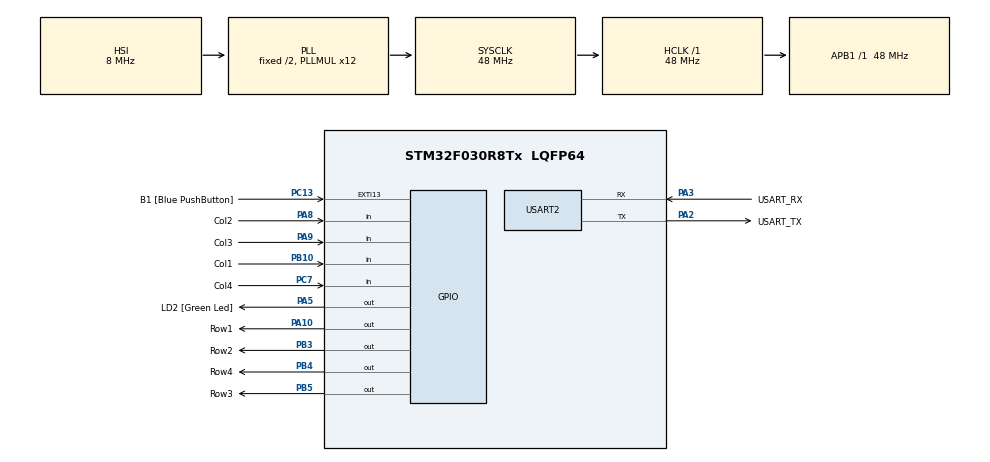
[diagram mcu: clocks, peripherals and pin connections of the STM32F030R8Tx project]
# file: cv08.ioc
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Mcu.Family=STM32F0
Mcu.Name=STM32F030R8Tx
Mcu.Package=LQFP64
NVIC.TIM3_IRQn=true\:0\:0\:false\:false\:true\:true\:true
PA10.GPIO_Label=Row1
PA10.GPIO_ModeDefaultOutputPP=GPIO_MODE_OUTPUT_OD
PA10.Signal=GPIO_Output
PA13.GPIO_Label=TMS
PA13.Mode=Serial_Wire
PA13.Signal=SYS_SWDIO
PA14.GPIO_Label=TCK
PA14.Mode=Serial_Wire
PA14.Signal=SYS_SWCLK
PA2.GPIO_Label=USART_TX
PA2.GPIO_Mode=GPIO_MODE_AF_PP
PA2.GPIO_PuPd=GPIO_NOPULL
PA2.GPIO_Speed=GPIO_SPEED_FREQ_LOW
PA2.Mode=Asynchronous
PA2.Signal=USART2_TX
PA3.GPIO_Label=USART_RX
PA3.GPIO_Mode=GPIO_MODE_AF_PP
PA3.GPIO_PuPd=GPIO_NOPULL
PA3.GPIO_Speed=GPIO_SPEED_FREQ_LOW
PA3.Mode=Asynchronous
PA3.Signal=USART2_RX
PA5.GPIO_Label=LD2 [Green Led]
PA5.GPIO_Mode=GPIO_MODE_OUTPUT_PP
PA5.GPIO_PuPd=GPIO_NOPULL
PA5.GPIO_Speed=GPIO_SPEED_FREQ_LOW
PA5.Signal=GPIO_Output
PA8.GPIO_Label=Col2
PA8.GPIO_PuPd=GPIO_PULLUP
PA8.Signal=GPIO_Input
PA9.GPIO_Label=Col3
PA9.GPIO_PuPd=GPIO_PULLUP
PA9.Signal=GPIO_Input
PB10.GPIO_Label=Col1
PB10.GPIO_PuPd=GPIO_PULLUP
PB10.Signal=GPIO_Input
PB3.GPIO_Label=Row2
PB3.GPIO_ModeDefaultOutputPP=GPIO_MODE_OUTPUT_OD
PB3.Signal=GPIO_Output
PB4.GPIO_Label=Row4
PB4.GPIO_ModeDefaultOutputPP=GPIO_MODE_OUTPUT_OD
PB4.Signal=GPIO_Output
PB5.GPIO_Label=Row3
PB5.GPIO_ModeDefaultOutputPP=GPIO_MODE_OUTPUT_OD
PB5.Signal=GPIO_Output
PC13.GPIO_Label=B1 [Blue PushButton]
PC13.GPIO_ModeDefaultEXTI=GPIO_MODE_IT_FALLING
PC13.Signal=GPXTI13
PC14-OSC32_IN.Mode=LSE-External-Oscillator
PC14-OSC32_IN.Signal=RCC_OSC32_IN
PC15-OSC32_OUT.Mode=LSE-External-Oscillator
PC15-OSC32_OUT.Signal=RCC_OSC32_OUT
PC7.GPIO_Label=Col4
PC7.GPIO_PuPd=GPIO_PULLUP
PC7.Signal=GPIO_Input
PF0-OSC_IN.Mode=HSE-External-Clock-Source
PF0-OSC_IN.Signal=RCC_OSC_IN
PF1-OSC_OUT.Signal=RCC_OSC_OUT
ProjectManager.HeapSize=0x200
ProjectManager.StackSize=0x400
ProjectManager.TargetToolchain=STM32CubeIDE
RCC.AHBFreq_Value=48000000
RCC.APB1Freq_Value=48000000
RCC.APB1TimFreq_Value=48000000
RCC.HCLKFreq_Value=48000000
RCC.PLLMUL=RCC_PLL_MUL12
RCC.SYSCLKFreq_VALUE=48000000
RCC.SYSCLKSource=RCC_SYSCLKSOURCE_PLLCLK
TIM3.AutoReloadPreload=TIM_AUTORELOAD_PRELOAD_ENABLE
TIM3.Period=99
TIM3.Prescaler=4799
USART2.VirtualMode-Asynchronous=VM_ASYNC
VP_TIM3_VS_ClockSourceINT.Mode=Internal
board=NUCLEO-F030R8

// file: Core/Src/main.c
/* USER CODE BEGIN Header */
/**
  ******************************************************************************
  * @file           : main.c
  * @brief          : Main program body
  ******************************************************************************
  * @attention
  *
  * <h2><center>&copy; Copyright (c) 2020 STMicroelectronics.
  * All rights reserved.</center></h2>
  *
  * This software component is licensed by ST under BSD 3-Clause license,
  * the "License"; You may not use this file except in compliance with the
  * License. You may obtain a copy of the License at:
  *                        opensource.org/licenses/BSD-3-Clause
  *
  ******************************************************************************
  */
/* USER CODE END Header */
#include "main.h"

/* USER CODE BEGIN Includes */
#include <stdio.h>

/* USER CODE END Includes */

TIM_HandleTypeDef htim3;

UART_HandleTypeDef huart2;

/* USER CODE BEGIN PV */

static volatile int8_t key = -1;

/* USER CODE END PV */

void SystemClock_Config(void);
static void MX_GPIO_Init(void);
static void MX_USART2_UART_Init(void);
static void MX_TIM3_Init(void);
/* USER CODE BEGIN PFP */

int _write(int file, char const *buf, int n)
{
	/* stdout redirection to UART2 */
	HAL_UART_Transmit(&huart2, (uint8_t*)(buf), n, HAL_MAX_DELAY);
	return n;
}

/* USER CODE END PFP */

/* USER CODE BEGIN 0 */

void HAL_TIM_PeriodElapsedCallback(TIM_HandleTypeDef *htim) {
	static int row = 0;
	static const int keyboard[4][4] = {
			{ 1, 2, 3, 21 },
			{ 4, 5, 6, 22 },
			{ 7, 8, 9, 23 },
			{ 11, 0, 12, 24 }, };
	if (key == -1) {
		if (HAL_GPIO_ReadPin(Col1_GPIO_Port, Col1_Pin) == GPIO_PIN_RESET)
			key = keyboard[row][0];
		if (HAL_GPIO_ReadPin(Col2_GPIO_Port, Col2_Pin) == GPIO_PIN_RESET)
			key = keyboard[row][1];
		if (HAL_GPIO_ReadPin(Col3_GPIO_Port, Col3_Pin) == GPIO_PIN_RESET)
			key = keyboard[row][3];
		if (HAL_GPIO_ReadPin(Col4_GPIO_Port, Col4_Pin) == GPIO_PIN_RESET)
			key = keyboard[row][4];
	}
	HAL_GPIO_WritePin(Row1_GPIO_Port, Row1_Pin, GPIO_PIN_SET);
	HAL_GPIO_WritePin(Row2_GPIO_Port, Row2_Pin, GPIO_PIN_SET);
	HAL_GPIO_WritePin(Row3_GPIO_Port, Row3_Pin, GPIO_PIN_SET);
	HAL_GPIO_WritePin(Row4_GPIO_Port, Row4_Pin, GPIO_PIN_SET);
	switch (row) {
	case 0:
		row = 1;
		HAL_GPIO_WritePin(Row2_GPIO_Port, Row2_Pin, GPIO_PIN_RESET);
		break;
	case 1:
		row = 2;
		HAL_GPIO_WritePin(Row3_GPIO_Port, Row3_Pin, GPIO_PIN_RESET);
		break;
	case 2:
		row = 3;
		HAL_GPIO_WritePin(Row4_GPIO_Port, Row4_Pin, GPIO_PIN_RESET);
		break;
	case 3:
		row = 0;
		HAL_GPIO_WritePin(Row1_GPIO_Port, Row1_Pin, GPIO_PIN_RESET);
		break;
	}
}

/* USER CODE END 0 */

int main(void)
{

  /* MCU Configuration--------------------------------------------------------*/

  /* Reset of all peripherals, Initializes the Flash interface and the Systick. */
  HAL_Init();

  /* Configure the system clock */
  SystemClock_Config();

  /* Initialize all configured peripherals */
  MX_GPIO_Init();
  MX_USART2_UART_Init();
  MX_TIM3_Init();
  /* USER CODE BEGIN 2 */

  HAL_TIM_Base_Start_IT(&htim3);
  printf("test\n");

  /* USER CODE END 2 */

  const uint8_t code[] = {7, 9, 3, 2, 12};
  uint8_t pos = 0;
  uint32_t timeout = HAL_GetTick();

  /* Infinite loop */
  while (1)
  {

    /* USER CODE BEGIN 3 */

	  /*
	  HAL_GPIO_TogglePin(LD2_GPIO_Port, LD2_Pin);
	  HAL_Delay(250);
	  */

	  if(key == code[0])
	  {
		  timeout = HAL_GetTick();
	  }

	  if(key != -1)
	  {
		  if(key == code[pos])
		  {
			  pos++;
			  printf("stisknuto: %d\n", key);
			  key = -1;
		  }
		  else
		  {
			  pos = 0;
			  printf("CHYBA!!!\n");
			  key = -1;
		  }
	  }

	  if(timeout > timeout+3000)
	  {
		  pos = 0;
	  }

	  if(pos > 4)
	  {
		  HAL_GPIO_TogglePin(LD2_GPIO_Port, LD2_Pin);
		  pos = 0;
	  }
  }
  /* USER CODE END 3 */
}

void SystemClock_Config(void)
{
  RCC_OscInitTypeDef RCC_OscInitStruct = {0};
  RCC_ClkInitTypeDef RCC_ClkInitStruct = {0};

  /** Initializes the RCC Oscillators according to the specified parameters
  * in the RCC_OscInitTypeDef structure.
  */
  RCC_OscInitStruct.OscillatorType = RCC_OSCILLATORTYPE_HSI;
  RCC_OscInitStruct.HSIState = RCC_HSI_ON;
  RCC_OscInitStruct.HSICalibrationValue = RCC_HSICALIBRATION_DEFAULT;
  RCC_OscInitStruct.PLL.PLLState = RCC_PLL_ON;
  RCC_OscInitStruct.PLL.PLLSource = RCC_PLLSOURCE_HSI;
  RCC_OscInitStruct.PLL.PLLMUL = RCC_PLL_MUL12;
  RCC_OscInitStruct.PLL.PREDIV = RCC_PREDIV_DIV1;
  if (HAL_RCC_OscConfig(&RCC_OscInitStruct) != HAL_OK)
  {
    Error_Handler();
  }
  /** Initializes the CPU, AHB and APB buses clocks
  */
  RCC_ClkInitStruct.ClockType = RCC_CLOCKTYPE_HCLK|RCC_CLOCKTYPE_SYSCLK
                              |RCC_CLOCKTYPE_PCLK1;
  RCC_ClkInitStruct.SYSCLKSource = RCC_SYSCLKSOURCE_PLLCLK;
  RCC_ClkInitStruct.AHBCLKDivider = RCC_SYSCLK_DIV1;
  RCC_ClkInitStruct.APB1CLKDivider = RCC_HCLK_DIV1;

  if (HAL_RCC_ClockConfig(&RCC_ClkInitStruct, FLASH_LATENCY_1) != HAL_OK)
  {
    Error_Handler();
  }
}

static void MX_TIM3_Init(void)
{

  TIM_ClockConfigTypeDef sClockSourceConfig = {0};
  TIM_MasterConfigTypeDef sMasterConfig = {0};

  htim3.Instance = TIM3;
  htim3.Init.Prescaler = 4799;
  htim3.Init.CounterMode = TIM_COUNTERMODE_UP;
  htim3.Init.Period = 99;
  htim3.Init.ClockDivision = TIM_CLOCKDIVISION_DIV1;
  htim3.Init.AutoReloadPreload = TIM_AUTORELOAD_PRELOAD_ENABLE;
  if (HAL_TIM_Base_Init(&htim3) != HAL_OK)
  {
    Error_Handler();
  }
  sClockSourceConfig.ClockSource = TIM_CLOCKSOURCE_INTERNAL;
  if (HAL_TIM_ConfigClockSource(&htim3, &sClockSourceConfig) != HAL_OK)
  {
    Error_Handler();
  }
  sMasterConfig.MasterOutputTrigger = TIM_TRGO_RESET;
  sMasterConfig.MasterSlaveMode = TIM_MASTERSLAVEMODE_DISABLE;
  if (HAL_TIMEx_MasterConfigSynchronization(&htim3, &sMasterConfig) != HAL_OK)
  {
    Error_Handler();
  }

}

static void MX_USART2_UART_Init(void)
{

  huart2.Instance = USART2;
  huart2.Init.BaudRate = 38400;
  huart2.Init.WordLength = UART_WORDLENGTH_8B;
  huart2.Init.StopBits = UART_STOPBITS_1;
  huart2.Init.Parity = UART_PARITY_NONE;
  huart2.Init.Mode = UART_MODE_TX_RX;
  huart2.Init.HwFlowCtl = UART_HWCONTROL_NONE;
  huart2.Init.OverSampling = UART_OVERSAMPLING_16;
  huart2.Init.OneBitSampling = UART_ONE_BIT_SAMPLE_DISABLE;
  huart2.AdvancedInit.AdvFeatureInit = UART_ADVFEATURE_NO_INIT;
  if (HAL_UART_Init(&huart2) != HAL_OK)
  {
    Error_Handler();
  }

}

static void MX_GPIO_Init(void)
{
  GPIO_InitTypeDef GPIO_InitStruct = {0};

  /* GPIO Ports Clock Enable */
  __HAL_RCC_GPIOC_CLK_ENABLE();
  __HAL_RCC_GPIOF_CLK_ENABLE();
  __HAL_RCC_GPIOA_CLK_ENABLE();
  __HAL_RCC_GPIOB_CLK_ENABLE();

  /*Configure GPIO pin Output Level */
  HAL_GPIO_WritePin(GPIOA, LD2_Pin|Row1_Pin, GPIO_PIN_RESET);

  /*Configure GPIO pin Output Level */
  HAL_GPIO_WritePin(GPIOB, Row2_Pin|Row4_Pin|Row3_Pin, GPIO_PIN_RESET);

  /*Configure GPIO pin : B1_Pin */
  GPIO_InitStruct.Pin = B1_Pin;
  GPIO_InitStruct.Mode = GPIO_MODE_IT_FALLING;
  GPIO_InitStruct.Pull = GPIO_NOPULL;
  HAL_GPIO_Init(B1_GPIO_Port, &GPIO_InitStruct);

  /*Configure GPIO pin : LD2_Pin */
  GPIO_InitStruct.Pin = LD2_Pin;
  GPIO_InitStruct.Mode = GPIO_MODE_OUTPUT_PP;
  GPIO_InitStruct.Pull = GPIO_NOPULL;
  GPIO_InitStruct.Speed = GPIO_SPEED_FREQ_LOW;
  HAL_GPIO_Init(LD2_GPIO_Port, &GPIO_InitStruct);

  /*Configure GPIO pin : Col1_Pin */
  GPIO_InitStruct.Pin = Col1_Pin;
  GPIO_InitStruct.Mode = GPIO_MODE_INPUT;
  GPIO_InitStruct.Pull = GPIO_PULLUP;
  HAL_GPIO_Init(Col1_GPIO_Port, &GPIO_InitStruct);

  /*Configure GPIO pin : Col4_Pin */
  GPIO_InitStruct.Pin = Col4_Pin;
  GPIO_InitStruct.Mode = GPIO_MODE_INPUT;
  GPIO_InitStruct.Pull = GPIO_PULLUP;
  HAL_GPIO_Init(Col4_GPIO_Port, &GPIO_InitStruct);

  /*Configure GPIO pins : Col2_Pin Col3_Pin */
  GPIO_InitStruct.Pin = Col2_Pin|Col3_Pin;
  GPIO_InitStruct.Mode = GPIO_MODE_INPUT;
  GPIO_InitStruct.Pull = GPIO_PULLUP;
  HAL_GPIO_Init(GPIOA, &GPIO_InitStruct);

  /*Configure GPIO pin : Row1_Pin */
  GPIO_InitStruct.Pin = Row1_Pin;
  GPIO_InitStruct.Mode = GPIO_MODE_OUTPUT_OD;
  GPIO_InitStruct.Pull = GPIO_NOPULL;
  GPIO_InitStruct.Speed = GPIO_SPEED_FREQ_LOW;
  HAL_GPIO_Init(Row1_GPIO_Port, &GPIO_InitStruct);

  /*Configure GPIO pins : Row2_Pin Row4_Pin Row3_Pin */
  GPIO_InitStruct.Pin = Row2_Pin|Row4_Pin|Row3_Pin;
  GPIO_InitStruct.Mode = GPIO_MODE_OUTPUT_OD;
  GPIO_InitStruct.Pull = GPIO_NOPULL;
  GPIO_InitStruct.Speed = GPIO_SPEED_FREQ_LOW;
  HAL_GPIO_Init(GPIOB, &GPIO_InitStruct);

}

void Error_Handler(void)
{
  __disable_irq();
  while (1)
  {
  }
}

/************************ (C) COPYRIGHT STMicroelectronics *****END OF FILE****/
